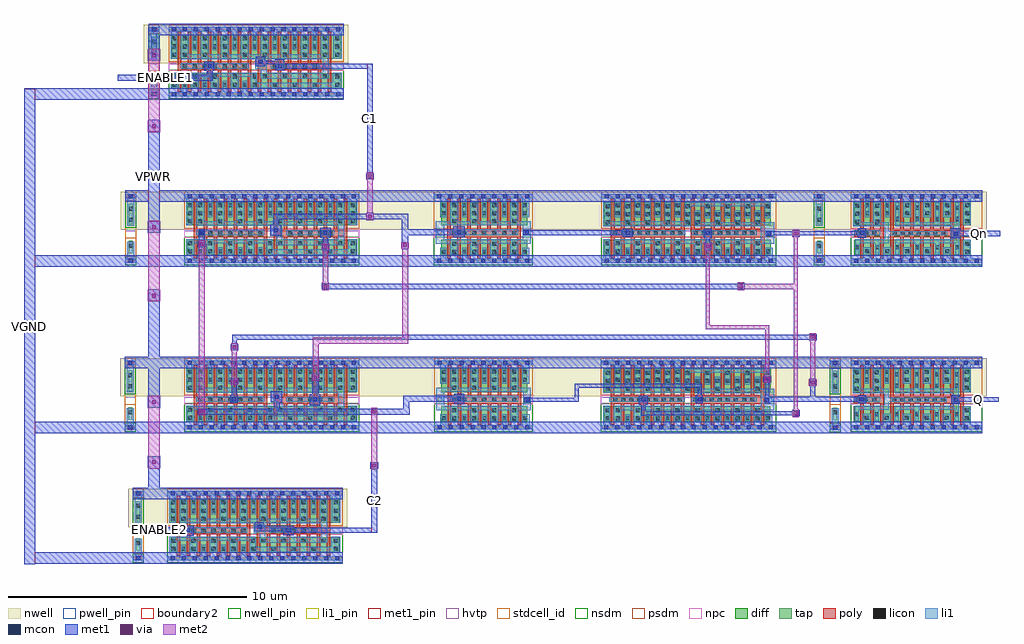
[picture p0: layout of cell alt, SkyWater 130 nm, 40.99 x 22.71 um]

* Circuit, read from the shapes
.subckt alt C1 C2 ENABLE1 ENABLE2 Q Qn VGND VPWR
XM1 VGND ENABLE2 n1 VGND sky130_fd_pr__nfet_01v8 w=0.65 l=0.15 m=8
XM2 VGND ENABLE1 n2 VGND sky130_fd_pr__nfet_01v8 w=0.65 l=0.15 m=8
XM3 VGND sky130_fd_sc_hd__buf_8_7/A n3 VGND sky130_fd_pr__nfet_01v8 w=0.65 l=0.15 m=8
XM4 VGND C2 n4 VGND sky130_fd_pr__nfet_01v8 w=0.65 l=0.15 m=8
XM5 C2 C2 n1 VGND sky130_fd_pr__nfet_01v8 w=0.65 l=0.15 m=8
XM6 C1 C1 n2 VGND sky130_fd_pr__nfet_01v8 w=0.65 l=0.15 m=8
XM7 C2 C1 n3 VGND sky130_fd_pr__nfet_01v8 w=0.65 l=0.15 m=8
XM8 C1 sky130_fd_sc_hd__buf_8_13/A n4 VGND sky130_fd_pr__nfet_01v8 w=0.65 l=0.15 m=8
XM9 sky130_fd_sc_hd__nor2_8_11/A C1 VGND VGND sky130_fd_pr__nfet_01v8 w=0.65 l=0.15 m=8
XM10 sky130_fd_sc_hd__nor2_8_5/B C2 VGND VGND sky130_fd_pr__nfet_01v8 w=0.65 l=0.15 m=8
XM11 sky130_fd_sc_hd__buf_8_7/A sky130_fd_sc_hd__buf_8_13/A VGND VGND sky130_fd_pr__nfet_01v8 w=0.65 l=0.15 m=8
XM12 sky130_fd_sc_hd__buf_8_13/A sky130_fd_sc_hd__nor2_8_11/A VGND VGND sky130_fd_pr__nfet_01v8 w=0.65 l=0.15 m=8
XM13 sky130_fd_sc_hd__buf_8_7/A sky130_fd_sc_hd__nor2_8_5/B VGND VGND sky130_fd_pr__nfet_01v8 w=0.65 l=0.15 m=8
XM14 sky130_fd_sc_hd__buf_8_13/A sky130_fd_sc_hd__buf_8_7/A VGND VGND sky130_fd_pr__nfet_01v8 w=0.65 l=0.15 m=8
XM15 VGND sky130_fd_sc_hd__buf_8_7/A n5 VGND sky130_fd_pr__nfet_01v8 w=0.65 l=0.15 m=3
XM16 VGND sky130_fd_sc_hd__buf_8_13/A n6 VGND sky130_fd_pr__nfet_01v8 w=0.65 l=0.15 m=3
XM17 Q n5 VGND VGND sky130_fd_pr__nfet_01v8 w=0.65 l=0.15 m=8
XM18 Qn n6 VGND VGND sky130_fd_pr__nfet_01v8 w=0.65 l=0.15 m=8
XM19 C2 ENABLE2 VPWR VPWR sky130_fd_pr__pfet_01v8_hvt w=1 l=0.15 m=8
XM20 C1 ENABLE1 VPWR VPWR sky130_fd_pr__pfet_01v8_hvt w=1 l=0.15 m=8
XM21 C2 sky130_fd_sc_hd__buf_8_7/A VPWR VPWR sky130_fd_pr__pfet_01v8_hvt w=1 l=0.15 m=8
XM22 C1 C2 VPWR VPWR sky130_fd_pr__pfet_01v8_hvt w=1 l=0.15 m=8
XM23 C2 C2 VPWR VPWR sky130_fd_pr__pfet_01v8_hvt w=1 l=0.15 m=8
XM24 C1 C1 VPWR VPWR sky130_fd_pr__pfet_01v8_hvt w=1 l=0.15 m=8
XM25 C2 C1 VPWR VPWR sky130_fd_pr__pfet_01v8_hvt w=1 l=0.15 m=8
XM26 C1 sky130_fd_sc_hd__buf_8_13/A VPWR VPWR sky130_fd_pr__pfet_01v8_hvt w=1 l=0.15 m=8
XM27 sky130_fd_sc_hd__nor2_8_11/A C1 VPWR VPWR sky130_fd_pr__pfet_01v8_hvt w=1 l=0.15 m=8
XM28 sky130_fd_sc_hd__nor2_8_5/B C2 VPWR VPWR sky130_fd_pr__pfet_01v8_hvt w=1 l=0.15 m=8
XM29 VPWR sky130_fd_sc_hd__buf_8_13/A n7 VPWR sky130_fd_pr__pfet_01v8_hvt w=1 l=0.15 m=8
XM30 VPWR sky130_fd_sc_hd__nor2_8_11/A n8 VPWR sky130_fd_pr__pfet_01v8_hvt w=1 l=0.15 m=8
XM31 sky130_fd_sc_hd__buf_8_7/A sky130_fd_sc_hd__nor2_8_5/B n7 VPWR sky130_fd_pr__pfet_01v8_hvt w=1 l=0.15 m=8
XM32 sky130_fd_sc_hd__buf_8_13/A sky130_fd_sc_hd__buf_8_7/A n8 VPWR sky130_fd_pr__pfet_01v8_hvt w=1 l=0.15 m=8
XM33 VPWR sky130_fd_sc_hd__buf_8_7/A n5 VPWR sky130_fd_pr__pfet_01v8_hvt w=1 l=0.15 m=3
XM34 VPWR sky130_fd_sc_hd__buf_8_13/A n6 VPWR sky130_fd_pr__pfet_01v8_hvt w=1 l=0.15 m=3
XM35 Q n5 VPWR VPWR sky130_fd_pr__pfet_01v8_hvt w=1 l=0.15 m=8
XM36 Qn n6 VPWR VPWR sky130_fd_pr__pfet_01v8_hvt w=1 l=0.15 m=8
.ends

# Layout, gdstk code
import gdstk
lib = gdstk.Library(unit=1e-6, precision=1e-09)
def R(c, l, rs):  # rectangles x0, y0, x1, y1
    for r in rs: c.add(gdstk.rectangle(r[:2], r[2:], *l))
def A(c, l, x, y, w, h, nx, ny, dx, dy):  # array of equal rectangles
    R(c, l, [(x+i*dx, y+j*dy, x+i*dx+w, y+j*dy+h) for i in range(nx) for j in range(ny)])
def P(c, l, *ps):  # polygons
    for p in ps: c.add(gdstk.Polygon(p, *l))
nwell_pin = (64, 16)
nwell = (64, 20)
diff = (65, 20)
tap = (65, 44)
poly = (66, 20)
licon = (66, 44)
li1_pin = (67, 16)
li1 = (67, 20)
mcon = (67, 44)
met1_pin = (68, 16)
met1 = (68, 20)
via = (68, 44)
met2 = (69, 20)
hvtp = (78, 44)
stdcell_id = (81, 4)
nsdm = (93, 44)
psdm = (94, 20)
npc = (95, 20)
pwell_pin = (122, 16)
boundary2 = (236, 0)

sky130_fd_sc_hd__tapvpwr = lib.new_cell('sky130_fd_sc_hd__tapvpwrvgnd_1')
R(sky130_fd_sc_hd__tapvpwr, nwell, [(-0.19,1.305,0.65,2.91)])
R(sky130_fd_sc_hd__tapvpwr, tap, [(0.145,0.32,0.315,0.845), (0.145,1.525,0.315,2.4)])
R(sky130_fd_sc_hd__tapvpwr, licon, [(0.145,0.555,0.315,0.725), (0.145,1.645,0.315,1.815), (0.145,2.11,0.315,2.28)])
R(sky130_fd_sc_hd__tapvpwr, li1, [(0,-0.085,0.46,0.085), (0.085,0,0.375,0.81), (0.085,1.47,0.375,2.72), (0,2.635,0.46,2.805)])
R(sky130_fd_sc_hd__tapvpwr, mcon, [(0.145,-0.085,0.315,0.085), (0.145,2.635,0.315,2.805)])
R(sky130_fd_sc_hd__tapvpwr, met1_pin, [(0.105,-0.09,0.36,0.1), (0.11,2.62,0.375,2.765)])
R(sky130_fd_sc_hd__tapvpwr, met1, [(0,-0.24,0.46,0.24), (0,2.48,0.46,2.96)])
R(sky130_fd_sc_hd__tapvpwr, hvtp, [(0,1.25,0.46,2.72)])
R(sky130_fd_sc_hd__tapvpwr, stdcell_id, [(0,0,0.46,2.72)])
R(sky130_fd_sc_hd__tapvpwr, nsdm, [(0,-0.19,0.46,0.19), (0,1.395,0.46,2.53)])
R(sky130_fd_sc_hd__tapvpwr, psdm, [(0,0.19,0.46,0.975), (0,2.53,0.46,2.91)])
sky130_fd_sc_hd__tapvpwr.add(gdstk.Label('VPWR', (0.23,2.72), layer=68, texttype=5))
sky130_fd_sc_hd__tapvpwr.add(gdstk.Label('VGND', (0.23,0), layer=68, texttype=5))
sky130_fd_sc_hd__tapvpwr.add(gdstk.Label('tapvpwrvgnd_1', (0,0), layer=83, texttype=44))

sky130_fd_sc_hd__nand2_8 = lib.new_cell('sky130_fd_sc_hd__nand2_8')
R(sky130_fd_sc_hd__nand2_8, nwell_pin, [(0.15,2.635,0.32,2.805)])
R(sky130_fd_sc_hd__nand2_8, nwell, [(-0.19,1.305,7.55,2.91)])
R(sky130_fd_sc_hd__nand2_8, diff, [(0.135,0.235,7.225,0.885), (0.135,1.485,7.225,2.485)])
P(sky130_fd_sc_hd__nand2_8, poly, [(3.485,2.615),(3.335,2.615),(3.335,1.295),(3.065,1.295),(3.065,2.615),(2.915,2.615),(2.915,1.295),(2.645,1.295),(2.645,2.615),(2.495,2.615),(2.495,1.295),(2.225,1.295),(2.225,2.615),(2.075,2.615),(2.075,1.295),(1.805,1.295),(1.805,2.615),(1.655,2.615),(1.655,1.295),(1.385,1.295),(1.385,2.615),(1.235,2.615),(1.235,1.295),(0.965,1.295),(0.965,2.615),(0.815,2.615),(0.815,1.295),(0.545,1.295),(0.545,2.615),(0.395,2.615),(0.395,0.105),(0.545,0.105),(0.545,1.025),(0.815,1.025),(0.815,0.105),(0.965,0.105),(0.965,1.025),(1.235,1.025),(1.235,0.105),(1.385,0.105),(1.385,1.025),(1.655,1.025),(1.655,0.105),(1.805,0.105),(1.805,1.025),(2.075,1.025),(2.075,0.105),(2.225,0.105),(2.225,1.025),(2.495,1.025),(2.495,0.105),(2.645,0.105),(2.645,1.025),(2.915,1.025),(2.915,0.105),(3.065,0.105),(3.065,1.025),(3.335,1.025),(3.335,0.105),(3.485,0.105)],
  [(6.845,2.615),(6.695,2.615),(6.695,1.295),(6.425,1.295),(6.425,2.615),(6.275,2.615),(6.275,1.295),(6.005,1.295),(6.005,2.615),(5.855,2.615),(5.855,1.295),(5.585,1.295),(5.585,2.615),(5.435,2.615),(5.435,1.295),(5.165,1.295),(5.165,2.615),(5.015,2.615),(5.015,1.295),(4.745,1.295),(4.745,2.615),(4.595,2.615),(4.595,1.295),(4.325,1.295),(4.325,2.615),(4.175,2.615),(4.175,1.295),(3.905,1.295),(3.905,2.615),(3.755,2.615),(3.755,0.105),(3.905,0.105),(3.905,1.025),(4.175,1.025),(4.175,0.105),(4.325,0.105),(4.325,1.025),(4.595,1.025),(4.595,0.105),(4.745,0.105),(4.745,1.025),(5.015,1.025),(5.015,0.105),(5.165,0.105),(5.165,1.025),(5.435,1.025),(5.435,0.105),(5.585,0.105),(5.585,1.025),(5.855,1.025),(5.855,0.105),(6.005,0.105),(6.005,1.025),(6.275,1.025),(6.275,0.105),(6.425,0.105),(6.425,1.025),(6.695,1.025),(6.695,0.105),(6.845,0.105)])
A(sky130_fd_sc_hd__nand2_8, licon, 0.175, 0.315, 0.17, 0.17, 9, 1, 0.42, 0)
A(sky130_fd_sc_hd__nand2_8, licon, 4.375, 0.315, 0.17, 0.17, 3, 1, 0.84, 0)
A(sky130_fd_sc_hd__nand2_8, licon, 0.175, 0.655, 0.17, 0.17, 5, 1, 0.84, 0)
A(sky130_fd_sc_hd__nand2_8, licon, 3.955, 0.655, 0.17, 0.17, 4, 1, 0.84, 0)
A(sky130_fd_sc_hd__nand2_8, licon, 1.015, 1.075, 0.17, 0.17, 6, 1, 0.42, 0)
A(sky130_fd_sc_hd__nand2_8, licon, 4.375, 1.075, 0.17, 0.17, 5, 1, 0.42, 0)
A(sky130_fd_sc_hd__nand2_8, licon, 0.595, 1.575, 0.17, 0.17, 8, 1, 0.84, 0)
A(sky130_fd_sc_hd__nand2_8, licon, 6.995, 1.575, 0.17, 0.17, 1, 3, 0, 0.34)
A(sky130_fd_sc_hd__nand2_8, licon, 0.175, 1.915, 0.17, 0.17, 16, 2, 0.42, 0.34)
R(sky130_fd_sc_hd__nand2_8, licon, [(6.995,0.315,7.165,0.485), (6.995,0.655,7.165,0.825), (0.59,1.075,0.76,1.245), (0.175,1.575,0.345,1.745)])
A(sky130_fd_sc_hd__nand2_8, li1_pin, 0.61, 1.105, 0.17, 0.17, 6, 1, 0.46, 0)
A(sky130_fd_sc_hd__nand2_8, li1_pin, 3.83, 1.105, 0.17, 0.17, 6, 1, 0.46, 0)
R(sky130_fd_sc_hd__nand2_8, li1_pin, [(3.83,1.445,4,1.615)])
R(sky130_fd_sc_hd__nand2_8, li1, [(0.51,1.075,3.365,1.295), (4.29,1.075,6.305,1.275)])
P(sky130_fd_sc_hd__nand2_8, li1, [(6.725,2.465),(6.475,2.465),(6.475,0.905),(4.12,0.905),(4.12,1.465),(6.475,1.465),(6.475,2.465),(6.395,2.465),(6.395,1.665),(5.885,1.665),(5.885,2.465),(5.555,2.465),(5.555,1.665),(5.045,1.665),(5.045,2.465),(4.715,2.465),(4.715,1.665),(4.205,1.665),(4.205,2.465),(3.875,2.465),(3.875,1.665),(3.365,1.665),(3.365,2.465),(3.035,2.465),(3.035,1.665),(2.525,1.665),(2.525,2.465),(2.195,2.465),(2.195,1.665),(1.685,1.665),(1.685,2.465),(1.355,2.465),(1.355,1.665),(0.845,1.665),(0.845,2.465),(0.515,2.465),(0.515,1.465),(3.64,1.465),(3.64,1.075),(3.875,1.075),(3.875,0.655),(6.725,0.655)],
  [(7.27,0.905),(6.895,0.905),(6.895,0.485),(3.705,0.485),(3.705,0.905),(0.09,0.905),(0.09,0.255),(0.425,0.255),(0.425,0.735),(0.935,0.735),(0.935,0.255),(1.265,0.255),(1.265,0.735),(1.775,0.735),(1.775,0.255),(2.105,0.255),(2.105,0.735),(2.615,0.735),(2.615,0.255),(2.945,0.255),(2.945,0.735),(3.455,0.735),(3.455,0.255),(7.27,0.255)],
  [(7.36,2.805),(0,2.805),(0,2.635),(0.09,2.635),(0.09,1.495),(0.345,1.495),(0.345,2.635),(1.015,2.635),(1.015,1.835),(1.185,1.835),(1.185,2.635),(1.855,2.635),(1.855,1.835),(2.025,1.835),(2.025,2.635),(2.695,2.635),(2.695,1.835),(2.865,1.835),(2.865,2.635),(3.535,2.635),(3.535,1.835),(3.705,1.835),(3.705,2.635),(4.375,2.635),(4.375,1.835),(4.545,1.835),(4.545,2.635),(5.215,2.635),(5.215,1.835),(5.385,1.835),(5.385,2.635),(6.055,2.635),(6.055,1.835),(6.225,1.835),(6.225,2.635),(6.915,2.635),(6.915,1.495),(7.27,1.495),(7.27,2.635),(7.36,2.635)],
  [(7.36,0.085),(3.285,0.085),(3.285,0.565),(3.115,0.565),(3.115,0.085),(2.445,0.085),(2.445,0.565),(2.275,0.565),(2.275,0.085),(1.605,0.085),(1.605,0.565),(1.435,0.565),(1.435,0.085),(0.765,0.085),(0.765,0.565),(0.595,0.565),(0.595,0.085),(0,0.085),(0,-0.085),(7.36,-0.085)])
A(sky130_fd_sc_hd__nand2_8, mcon, 0.145, -0.085, 0.17, 0.17, 16, 2, 0.46, 2.72)
R(sky130_fd_sc_hd__nand2_8, met1_pin, [(0.15,-0.085,0.32,0.085), (0.15,2.635,0.32,2.805)])
R(sky130_fd_sc_hd__nand2_8, hvtp, [(0,1.25,7.36,2.72)])
R(sky130_fd_sc_hd__nand2_8, stdcell_id, [(0,0,7.36,2.72)])
R(sky130_fd_sc_hd__nand2_8, nsdm, [(0,-0.19,7.36,1.015)])
R(sky130_fd_sc_hd__nand2_8, psdm, [(0,1.355,7.36,2.91)])
R(sky130_fd_sc_hd__nand2_8, npc, [(0,0.975,7.36,1.345)])
R(sky130_fd_sc_hd__nand2_8, pwell_pin, [(0.15,-0.085,0.32,0.085)])
R(sky130_fd_sc_hd__nand2_8, boundary2, [(0,0,7.36,2.72)])
sky130_fd_sc_hd__nand2_8.add(gdstk.FlexPath([(0,2.72),(7.36,2.72)], 0.48, ends="flush", simple_path=True, layer=68, datatype=20))  # met1
sky130_fd_sc_hd__nand2_8.add(gdstk.FlexPath([(0,0),(7.36,0)], 0.48, ends="flush", simple_path=True, layer=68, datatype=20))  # met1
sky130_fd_sc_hd__nand2_8.add(gdstk.Label('A', (5.295,1.19), layer=67, texttype=5))
sky130_fd_sc_hd__nand2_8.add(gdstk.Label('A', (4.835,1.19), layer=67, texttype=5))
sky130_fd_sc_hd__nand2_8.add(gdstk.Label('A', (4.375,1.19), layer=67, texttype=5))
sky130_fd_sc_hd__nand2_8.add(gdstk.Label('B', (2.995,1.19), layer=67, texttype=5))
sky130_fd_sc_hd__nand2_8.add(gdstk.Label('B', (1.155,1.19), layer=67, texttype=5))
sky130_fd_sc_hd__nand2_8.add(gdstk.Label('B', (0.695,1.19), layer=67, texttype=5))
sky130_fd_sc_hd__nand2_8.add(gdstk.Label('Y', (3.915,1.53), layer=67, texttype=5))
sky130_fd_sc_hd__nand2_8.add(gdstk.Label('Y', (3.915,1.19), layer=67, texttype=5))
sky130_fd_sc_hd__nand2_8.add(gdstk.Label('A', (6.215,1.19), layer=67, texttype=5))
sky130_fd_sc_hd__nand2_8.add(gdstk.Label('A', (5.755,1.19), layer=67, texttype=5))
sky130_fd_sc_hd__nand2_8.add(gdstk.Label('B', (2.535,1.19), layer=67, texttype=5))
sky130_fd_sc_hd__nand2_8.add(gdstk.Label('B', (2.075,1.19), layer=67, texttype=5))
sky130_fd_sc_hd__nand2_8.add(gdstk.Label('B', (1.615,1.19), layer=67, texttype=5))
sky130_fd_sc_hd__nand2_8.add(gdstk.Label('VNB', (0.235,0), layer=64, texttype=59))
sky130_fd_sc_hd__nand2_8.add(gdstk.Label('VPB', (0.235,2.72), layer=64, texttype=5))
sky130_fd_sc_hd__nand2_8.add(gdstk.Label('VGND', (0.235,0), layer=68, texttype=5))
sky130_fd_sc_hd__nand2_8.add(gdstk.Label('VPWR', (0.235,2.72), layer=68, texttype=5))
sky130_fd_sc_hd__nand2_8.add(gdstk.Label('nand2_8', (0,0), layer=83, texttype=44))

sky130_fd_sc_hd__inv_8 = lib.new_cell('sky130_fd_sc_hd__inv_8')
R(sky130_fd_sc_hd__inv_8, nwell_pin, [(0.145,2.635,0.315,2.805)])
R(sky130_fd_sc_hd__inv_8, nwell, [(-0.19,1.305,4.33,2.91)])
R(sky130_fd_sc_hd__inv_8, diff, [(0.3,0.235,3.91,0.885), (0.3,1.485,3.91,2.485)])
P(sky130_fd_sc_hd__inv_8, poly, [(3.65,2.615),(3.5,2.615),(3.5,1.325),(3.23,1.325),(3.23,2.615),(3.08,2.615),(3.08,1.325),(2.81,1.325),(2.81,2.615),(2.66,2.615),(2.66,1.325),(2.39,1.325),(2.39,2.615),(2.24,2.615),(2.24,1.325),(1.97,1.325),(1.97,2.615),(1.82,2.615),(1.82,1.325),(1.55,1.325),(1.55,2.615),(1.4,2.615),(1.4,1.325),(1.13,1.325),(1.13,2.615),(0.98,2.615),(0.98,1.325),(0.71,1.325),(0.71,2.615),(0.56,2.615),(0.56,0.105),(0.71,0.105),(0.71,0.995),(0.98,0.995),(0.98,0.105),(1.13,0.105),(1.13,0.995),(1.4,0.995),(1.4,0.105),(1.55,0.105),(1.55,0.995),(1.82,0.995),(1.82,0.105),(1.97,0.105),(1.97,0.995),(2.24,0.995),(2.24,0.105),(2.39,0.105),(2.39,0.995),(2.66,0.995),(2.66,0.105),(2.81,0.105),(2.81,0.995),(3.08,0.995),(3.08,0.105),(3.23,0.105),(3.23,0.995),(3.5,0.995),(3.5,0.105),(3.65,0.105)])
A(sky130_fd_sc_hd__inv_8, licon, 0.34, 0.295, 0.17, 0.17, 9, 2, 0.42, 1.62)
A(sky130_fd_sc_hd__inv_8, licon, 0.76, 0.635, 0.17, 0.17, 4, 2, 0.84, 0.94)
A(sky130_fd_sc_hd__inv_8, licon, 0.76, 1.075, 0.17, 0.17, 7, 1, 0.42, 0)
A(sky130_fd_sc_hd__inv_8, licon, 0.34, 2.255, 0.17, 0.17, 9, 1, 0.42, 0)
A(sky130_fd_sc_hd__inv_8, li1_pin, 1.065, 1.105, 0.17, 0.17, 7, 1, 0.46, 0)
R(sky130_fd_sc_hd__inv_8, li1_pin, [(0.145,1.105,0.315,1.275)])
R(sky130_fd_sc_hd__inv_8, li1, [(0.68,1.075,3.535,1.325)])
P(sky130_fd_sc_hd__inv_8, li1, [(4.055,1.665),(3.735,1.665),(3.735,0.905),(0.43,0.905),(0.43,1.495),(3.735,1.495),(3.735,1.665),(3.53,1.665),(3.53,2.465),(3.2,2.465),(3.2,1.665),(2.69,1.665),(2.69,2.465),(2.36,2.465),(2.36,1.665),(1.85,1.665),(1.85,2.465),(1.52,2.465),(1.52,1.665),(1.01,1.665),(1.01,2.465),(0.68,2.465),(0.68,1.665),(0.085,1.665),(0.085,0.715),(0.68,0.715),(0.68,0.255),(1.01,0.255),(1.01,0.715),(1.52,0.715),(1.52,0.255),(1.85,0.255),(1.85,0.715),(2.36,0.715),(2.36,0.255),(2.69,0.255),(2.69,0.715),(3.2,0.715),(3.2,0.255),(3.53,0.255),(3.53,0.715),(4.055,0.715)],
  [(4.14,0.085),(4.005,0.085),(4.005,0.545),(3.7,0.545),(3.7,0.085),(3.03,0.085),(3.03,0.545),(2.86,0.545),(2.86,0.085),(2.19,0.085),(2.19,0.545),(2.02,0.545),(2.02,0.085),(1.35,0.085),(1.35,0.545),(1.18,0.545),(1.18,0.085),(0.51,0.085),(0.51,0.545),(0.255,0.545),(0.255,0.085),(0,0.085),(0,-0.085),(4.14,-0.085)],
  [(4.14,2.805),(0,2.805),(0,2.635),(0.255,2.635),(0.255,1.835),(0.51,1.835),(0.51,2.635),(1.18,2.635),(1.18,1.835),(1.35,1.835),(1.35,2.635),(2.02,2.635),(2.02,1.835),(2.19,1.835),(2.19,2.635),(2.86,2.635),(2.86,1.835),(3.03,1.835),(3.03,2.635),(3.7,2.635),(3.7,1.835),(4,1.835),(4,2.635),(4.14,2.635)])
A(sky130_fd_sc_hd__inv_8, mcon, 0.145, -0.085, 0.17, 0.17, 9, 2, 0.46, 2.72)
R(sky130_fd_sc_hd__inv_8, met1_pin, [(0.145,-0.085,0.315,0.085), (0.145,2.635,0.315,2.805)])
R(sky130_fd_sc_hd__inv_8, hvtp, [(0,1.25,4.14,2.72)])
R(sky130_fd_sc_hd__inv_8, stdcell_id, [(0,0,4.14,2.72)])
R(sky130_fd_sc_hd__inv_8, nsdm, [(0,-0.19,4.14,1.015)])
R(sky130_fd_sc_hd__inv_8, psdm, [(0,1.355,4.14,2.91)])
R(sky130_fd_sc_hd__inv_8, npc, [(0,0.975,4.14,1.345)])
R(sky130_fd_sc_hd__inv_8, pwell_pin, [(0.145,-0.085,0.315,0.085)])
R(sky130_fd_sc_hd__inv_8, boundary2, [(0,0,4.14,2.72)])
sky130_fd_sc_hd__inv_8.add(gdstk.FlexPath([(0,2.72),(4.14,2.72)], 0.48, ends="flush", simple_path=True, layer=68, datatype=20))  # met1
sky130_fd_sc_hd__inv_8.add(gdstk.FlexPath([(0,0),(4.14,0)], 0.48, ends="flush", simple_path=True, layer=68, datatype=20))  # met1
sky130_fd_sc_hd__inv_8.add(gdstk.Label('A', (1.15,1.19), layer=67, texttype=5))
sky130_fd_sc_hd__inv_8.add(gdstk.Label('A', (1.61,1.19), layer=67, texttype=5))
sky130_fd_sc_hd__inv_8.add(gdstk.Label('A', (2.07,1.19), layer=67, texttype=5))
sky130_fd_sc_hd__inv_8.add(gdstk.Label('A', (2.53,1.19), layer=67, texttype=5))
sky130_fd_sc_hd__inv_8.add(gdstk.Label('A', (2.99,1.19), layer=67, texttype=5))
sky130_fd_sc_hd__inv_8.add(gdstk.Label('A', (3.45,1.19), layer=67, texttype=5))
sky130_fd_sc_hd__inv_8.add(gdstk.Label('Y', (3.91,1.19), layer=67, texttype=5))
sky130_fd_sc_hd__inv_8.add(gdstk.Label('Y', (0.23,1.19), layer=67, texttype=5))
sky130_fd_sc_hd__inv_8.add(gdstk.Label('VNB', (0.23,0), layer=64, texttype=59))
sky130_fd_sc_hd__inv_8.add(gdstk.Label('VPB', (0.23,2.72), layer=64, texttype=5))
sky130_fd_sc_hd__inv_8.add(gdstk.Label('VGND', (0.23,0), layer=68, texttype=5))
sky130_fd_sc_hd__inv_8.add(gdstk.Label('VPWR', (0.23,2.72), layer=68, texttype=5))
sky130_fd_sc_hd__inv_8.add(gdstk.Label('inv_8', (0,0), layer=83, texttype=44))

sky130_fd_sc_hd__nor2_8 = lib.new_cell('sky130_fd_sc_hd__nor2_8')
R(sky130_fd_sc_hd__nor2_8, nwell_pin, [(0.145,2.635,0.315,2.805)])
R(sky130_fd_sc_hd__nor2_8, nwell, [(-0.19,1.305,7.55,2.91)])
R(sky130_fd_sc_hd__nor2_8, diff, [(0.135,0.235,7.125,0.885), (0.135,1.485,7.135,2.485)])
P(sky130_fd_sc_hd__nor2_8, poly, [(3.505,2.615),(3.355,2.615),(3.355,1.325),(3.085,1.325),(3.085,2.615),(2.935,2.615),(2.935,1.325),(2.665,1.325),(2.665,2.615),(2.515,2.615),(2.515,1.325),(2.245,1.325),(2.245,2.615),(2.095,2.615),(2.095,1.325),(1.825,1.325),(1.825,2.615),(1.675,2.615),(1.675,1.325),(1.405,1.325),(1.405,2.615),(1.255,2.615),(1.255,1.325),(0.985,1.325),(0.985,2.615),(0.835,2.615),(0.835,1.325),(0.565,1.325),(0.565,2.615),(0.415,2.615),(0.415,0.105),(0.565,0.105),(0.565,0.995),(0.835,0.995),(0.835,0.105),(0.985,0.105),(0.985,0.995),(1.255,0.995),(1.255,0.105),(1.405,0.105),(1.405,0.995),(1.675,0.995),(1.675,0.105),(1.825,0.105),(1.825,0.995),(2.095,0.995),(2.095,0.105),(2.245,0.105),(2.245,0.995),(2.515,0.995),(2.515,0.105),(2.665,0.105),(2.665,0.995),(2.935,0.995),(2.935,0.105),(3.085,0.105),(3.085,0.995),(3.355,0.995),(3.355,0.105),(3.505,0.105)],
  [(6.865,2.615),(6.715,2.615),(6.715,1.325),(6.445,1.325),(6.445,2.615),(6.295,2.615),(6.295,1.325),(6.025,1.325),(6.025,2.615),(5.875,2.615),(5.875,1.325),(5.605,1.325),(5.605,2.615),(5.455,2.615),(5.455,1.325),(5.185,1.325),(5.185,2.615),(5.035,2.615),(5.035,1.325),(4.765,1.325),(4.765,2.615),(4.615,2.615),(4.615,1.325),(4.345,1.325),(4.345,2.615),(4.195,2.615),(4.195,1.325),(3.925,1.325),(3.925,2.615),(3.775,2.615),(3.775,0.105),(3.925,0.105),(3.925,0.995),(4.195,0.995),(4.195,0.105),(4.345,0.105),(4.345,0.995),(4.615,0.995),(4.615,0.105),(4.765,0.105),(4.765,0.995),(5.035,0.995),(5.035,0.105),(5.185,0.105),(5.185,0.995),(5.455,0.995),(5.455,0.105),(5.605,0.105),(5.605,0.995),(5.875,0.995),(5.875,0.105),(6.025,0.105),(6.025,0.995),(6.295,0.995),(6.295,0.105),(6.445,0.105),(6.445,0.995),(6.715,0.995),(6.715,0.105),(6.865,0.105)])
A(sky130_fd_sc_hd__nor2_8, licon, 0.195, 0.305, 0.17, 0.17, 17, 1, 0.42, 0)
A(sky130_fd_sc_hd__nor2_8, licon, 0.615, 0.645, 0.17, 0.17, 8, 1, 0.84, 0)
A(sky130_fd_sc_hd__nor2_8, licon, 0.515, 1.075, 0.17, 0.17, 9, 1, 0.34, 0)
A(sky130_fd_sc_hd__nor2_8, licon, 3.89, 1.075, 0.17, 0.17, 8, 1, 0.34, 0)
A(sky130_fd_sc_hd__nor2_8, licon, 0.195, 1.535, 0.17, 0.17, 5, 2, 0.84, 0.34)
A(sky130_fd_sc_hd__nor2_8, licon, 3.975, 1.535, 0.17, 0.17, 4, 1, 0.84, 0)
A(sky130_fd_sc_hd__nor2_8, licon, 3.975, 1.875, 0.17, 0.17, 8, 1, 0.42, 0)
A(sky130_fd_sc_hd__nor2_8, licon, 0.615, 1.915, 0.17, 0.17, 4, 2, 0.84, 0.34)
A(sky130_fd_sc_hd__nor2_8, licon, 0.195, 2.215, 0.17, 0.17, 9, 1, 0.84, 0)
R(sky130_fd_sc_hd__nor2_8, licon, [(0.195,0.645,0.365,0.815)])
R(sky130_fd_sc_hd__nor2_8, li1_pin, [(0.605,1.105,0.775,1.275), (4.745,1.105,4.915,1.275), (7.045,1.445,7.215,1.615)])
R(sky130_fd_sc_hd__nor2_8, li1, [(0.36,1.075,3.53,1.275), (3.8,1.075,6.54,1.275)])
P(sky130_fd_sc_hd__nor2_8, li1, [(7.36,0.085),(7.205,0.085),(7.205,0.555),(6.915,0.555),(6.915,0.085),(6.245,0.085),(6.245,0.555),(6.075,0.555),(6.075,0.085),(5.405,0.085),(5.405,0.555),(5.235,0.555),(5.235,0.085),(4.565,0.085),(4.565,0.555),(4.395,0.555),(4.395,0.085),(3.725,0.085),(3.725,0.555),(3.555,0.555),(3.555,0.085),(2.885,0.085),(2.885,0.555),(2.715,0.555),(2.715,0.085),(2.045,0.085),(2.045,0.555),(1.875,0.555),(1.875,0.085),(1.205,0.085),(1.205,0.555),(1.035,0.555),(1.035,0.085),(0.365,0.085),(0.365,0.905),(0.09,0.905),(0.09,0.085),(0,0.085),(0,-0.085),(7.36,-0.085)],
  [(7.36,2.805),(0,2.805),(0,2.635),(0.575,2.635),(0.575,1.835),(0.825,1.835),(0.825,2.635),(1.415,2.635),(1.415,1.835),(1.665,1.835),(1.665,2.635),(2.255,2.635),(2.255,1.835),(2.505,1.835),(2.505,2.635),(3.095,2.635),(3.095,1.835),(3.345,1.835),(3.345,2.635),(7.36,2.635)],
  [(7.125,2.465),(3.515,2.465),(3.515,1.665),(2.925,1.665),(2.925,2.465),(2.675,2.465),(2.675,1.665),(2.085,1.665),(2.085,2.465),(1.835,2.465),(1.835,1.665),(1.245,1.665),(1.245,2.465),(0.995,2.465),(0.995,1.665),(0.405,1.665),(0.405,2.465),(0.09,2.465),(0.09,1.455),(3.765,1.455),(3.765,2.295),(4.355,2.295),(4.355,1.785),(4.605,1.785),(4.605,2.295),(5.195,2.295),(5.195,1.785),(5.445,1.785),(5.445,2.295),(6.035,2.295),(6.035,1.785),(6.285,1.785),(6.285,2.295),(6.875,2.295),(6.875,1.785),(7.125,1.785)],
  [(7.275,1.615),(6.705,1.615),(6.705,2.125),(6.455,2.125),(6.455,1.615),(5.865,1.615),(5.865,2.125),(5.615,2.125),(5.615,1.615),(5.025,1.615),(5.025,2.125),(4.775,2.125),(4.775,1.615),(4.185,1.615),(4.185,2.125),(3.935,2.125),(3.935,1.445),(6.71,1.445),(6.71,0.905),(0.535,0.905),(0.535,0.255),(0.865,0.255),(0.865,0.725),(1.375,0.725),(1.375,0.255),(1.705,0.255),(1.705,0.725),(2.215,0.725),(2.215,0.255),(2.545,0.255),(2.545,0.725),(3.055,0.725),(3.055,0.255),(3.385,0.255),(3.385,0.725),(3.895,0.725),(3.895,0.255),(4.225,0.255),(4.225,0.725),(4.735,0.725),(4.735,0.255),(5.065,0.255),(5.065,0.725),(5.575,0.725),(5.575,0.255),(5.905,0.255),(5.905,0.725),(6.415,0.725),(6.415,0.255),(6.745,0.255),(6.745,0.725),(7.275,0.725)])
A(sky130_fd_sc_hd__nor2_8, mcon, 0.145, -0.085, 0.17, 0.17, 16, 2, 0.46, 2.72)
R(sky130_fd_sc_hd__nor2_8, met1_pin, [(0.145,-0.085,0.315,0.085), (0.145,2.635,0.315,2.805)])
R(sky130_fd_sc_hd__nor2_8, hvtp, [(0,1.25,7.36,2.72)])
R(sky130_fd_sc_hd__nor2_8, stdcell_id, [(0,0,7.36,2.72)])
R(sky130_fd_sc_hd__nor2_8, nsdm, [(0,-0.19,7.36,1.015)])
R(sky130_fd_sc_hd__nor2_8, psdm, [(0,1.355,7.36,2.91)])
R(sky130_fd_sc_hd__nor2_8, npc, [(0,0.975,7.36,1.345)])
R(sky130_fd_sc_hd__nor2_8, pwell_pin, [(0.145,-0.085,0.315,0.085)])
R(sky130_fd_sc_hd__nor2_8, boundary2, [(0,0,7.36,2.72)])
sky130_fd_sc_hd__nor2_8.add(gdstk.FlexPath([(0,2.72),(7.36,2.72)], 0.48, ends="flush", simple_path=True, layer=68, datatype=20))  # met1
sky130_fd_sc_hd__nor2_8.add(gdstk.FlexPath([(0,0),(7.36,0)], 0.48, ends="flush", simple_path=True, layer=68, datatype=20))  # met1
sky130_fd_sc_hd__nor2_8.add(gdstk.Label('Y', (7.13,1.53), layer=67, texttype=5))
sky130_fd_sc_hd__nor2_8.add(gdstk.Label('A', (0.69,1.19), layer=67, texttype=5))
sky130_fd_sc_hd__nor2_8.add(gdstk.Label('B', (4.83,1.19), layer=67, texttype=5))
sky130_fd_sc_hd__nor2_8.add(gdstk.Label('VPB', (0.23,2.72), layer=64, texttype=5))
sky130_fd_sc_hd__nor2_8.add(gdstk.Label('VNB', (0.23,0), layer=64, texttype=59))
sky130_fd_sc_hd__nor2_8.add(gdstk.Label('VGND', (0.23,0), layer=68, texttype=5))
sky130_fd_sc_hd__nor2_8.add(gdstk.Label('VPWR', (0.23,2.72), layer=68, texttype=5))
sky130_fd_sc_hd__nor2_8.add(gdstk.Label('nor2_8', (0,0), layer=83, texttype=44))

sky130_fd_sc_hd__buf_8 = lib.new_cell('sky130_fd_sc_hd__buf_8')
R(sky130_fd_sc_hd__buf_8, nwell_pin, [(0.15,2.635,0.32,2.805)])
R(sky130_fd_sc_hd__buf_8, nwell, [(-0.19,1.305,5.71,2.91)])
R(sky130_fd_sc_hd__buf_8, diff, [(0.135,0.235,5.005,0.885), (0.135,1.485,5.005,2.485)])
P(sky130_fd_sc_hd__buf_8, poly, [(1.385,2.615),(1.235,2.615),(1.235,1.295),(0.965,1.295),(0.965,2.615),(0.815,2.615),(0.815,1.295),(0.545,1.295),(0.545,2.615),(0.395,2.615),(0.395,1.305),(0.14,1.305),(0.14,1.015),(0.395,1.015),(0.395,0.105),(0.545,0.105),(0.545,1.025),(0.815,1.025),(0.815,0.105),(0.965,0.105),(0.965,1.025),(1.235,1.025),(1.235,0.105),(1.385,0.105)],
  [(4.745,2.615),(4.595,2.615),(4.595,1.295),(4.325,1.295),(4.325,2.615),(4.175,2.615),(4.175,1.295),(3.905,1.295),(3.905,2.615),(3.755,2.615),(3.755,1.295),(3.485,1.295),(3.485,2.615),(3.335,2.615),(3.335,1.295),(3.065,1.295),(3.065,2.615),(2.915,2.615),(2.915,1.295),(2.645,1.295),(2.645,2.615),(2.495,2.615),(2.495,1.295),(2.225,1.295),(2.225,2.615),(2.075,2.615),(2.075,1.295),(1.805,1.295),(1.805,2.615),(1.655,2.615),(1.655,0.105),(1.805,0.105),(1.805,1.025),(2.075,1.025),(2.075,0.105),(2.225,0.105),(2.225,1.025),(2.495,1.025),(2.495,0.105),(2.645,0.105),(2.645,1.025),(2.915,1.025),(2.915,0.105),(3.065,0.105),(3.065,1.025),(3.335,1.025),(3.335,0.105),(3.485,0.105),(3.485,1.025),(3.755,1.025),(3.755,0.105),(3.905,0.105),(3.905,1.025),(4.175,1.025),(4.175,0.105),(4.325,0.105),(4.325,1.025),(4.595,1.025),(4.595,0.105),(4.745,0.105)])
A(sky130_fd_sc_hd__buf_8, licon, 0.595, 0.315, 0.17, 0.17, 5, 1, 0.84, 0)
A(sky130_fd_sc_hd__buf_8, licon, 0.175, 0.475, 0.17, 0.17, 6, 1, 0.84, 0)
A(sky130_fd_sc_hd__buf_8, licon, 0.22, 1.075, 0.17, 0.17, 3, 1, 0.34, 0)
A(sky130_fd_sc_hd__buf_8, licon, 1.755, 1.075, 0.17, 0.17, 7, 1, 0.34, 0)
A(sky130_fd_sc_hd__buf_8, licon, 0.175, 1.545, 0.17, 0.17, 1, 3, 0, 0.34)
A(sky130_fd_sc_hd__buf_8, licon, 1.015, 1.545, 0.17, 0.17, 1, 3, 0, 0.34)
A(sky130_fd_sc_hd__buf_8, licon, 1.855, 1.67, 0.17, 0.17, 4, 2, 0.84, 0.475)
A(sky130_fd_sc_hd__buf_8, licon, 0.595, 1.915, 0.17, 0.17, 6, 2, 0.84, 0.34)
R(sky130_fd_sc_hd__buf_8, licon, [(4.795,0.295,4.965,0.465), (4.795,0.635,4.965,0.805), (4.795,1.575,4.965,1.745)])
A(sky130_fd_sc_hd__buf_8, li1_pin, 4.29, 0.765, 0.17, 0.17, 1, 3, 0, 0.34)
A(sky130_fd_sc_hd__buf_8, li1_pin, 0.15, 1.105, 0.17, 0.17, 3, 1, 0.46, 0)
R(sky130_fd_sc_hd__buf_8, li1_pin, [(0.15,-0.085,0.32,0.085), (0.15,2.635,0.32,2.805)])
R(sky130_fd_sc_hd__buf_8, li1, [(0.14,1.075,1.24,1.275)])
P(sky130_fd_sc_hd__buf_8, li1, [(4.045,1.245),(1.595,1.245),(1.595,1.615),(1.265,1.615),(1.265,2.465),(0.935,2.465),(0.935,1.615),(0.425,1.615),(0.425,2.465),(0.095,2.465),(0.095,1.445),(1.42,1.445),(1.42,0.905),(0.175,0.905),(0.175,0.255),(0.345,0.255),(0.345,0.735),(1.015,0.735),(1.015,0.26),(1.185,0.26),(1.185,0.735),(1.595,0.735),(1.595,1.075),(4.045,1.075)],
  [(5.52,0.085),(5.045,0.085),(5.045,0.885),(4.715,0.885),(4.715,0.085),(4.205,0.085),(4.205,0.565),(3.875,0.565),(3.875,0.085),(3.365,0.085),(3.365,0.565),(3.035,0.565),(3.035,0.085),(2.525,0.085),(2.525,0.565),(2.195,0.565),(2.195,0.085),(1.685,0.085),(1.685,0.565),(1.355,0.565),(1.355,0.085),(0.845,0.085),(0.845,0.565),(0.515,0.565),(0.515,0.085),(0,0.085),(0,-0.085),(5.52,-0.085)],
  [(5.52,2.805),(0,2.805),(0,2.635),(0.595,2.635),(0.595,1.835),(0.765,1.835),(0.765,2.635),(1.435,2.635),(1.435,1.835),(1.605,1.835),(1.605,2.635),(2.195,2.635),(2.195,1.835),(2.525,1.835),(2.525,2.635),(3.035,2.635),(3.035,1.835),(3.365,1.835),(3.365,2.635),(3.875,2.635),(3.875,1.835),(4.205,1.835),(4.205,2.635),(4.715,2.635),(4.715,1.485),(5.045,1.485),(5.045,2.635),(5.52,2.635)],
  [(4.545,2.465),(4.375,2.465),(4.375,1.615),(3.705,1.615),(3.705,2.465),(3.535,2.465),(3.535,1.615),(2.865,1.615),(2.865,2.465),(2.695,2.465),(2.695,1.615),(2.025,1.615),(2.025,2.465),(1.855,2.465),(1.855,1.445),(4.29,1.445),(4.29,0.905),(1.855,0.905),(1.855,0.255),(2.025,0.255),(2.025,0.735),(2.695,0.735),(2.695,0.255),(2.865,0.255),(2.865,0.735),(3.535,0.735),(3.535,0.255),(3.705,0.255),(3.705,0.735),(4.375,0.735),(4.375,0.255),(4.545,0.255)])
A(sky130_fd_sc_hd__buf_8, mcon, 0.145, -0.085, 0.17, 0.17, 12, 2, 0.46, 2.72)
R(sky130_fd_sc_hd__buf_8, met1_pin, [(0.15,-0.085,0.32,0.085), (0.15,2.635,0.32,2.805)])
R(sky130_fd_sc_hd__buf_8, hvtp, [(0,1.25,5.52,2.72)])
R(sky130_fd_sc_hd__buf_8, stdcell_id, [(0,0,5.52,2.72)])
R(sky130_fd_sc_hd__buf_8, nsdm, [(0,-0.19,5.52,1.015)])
R(sky130_fd_sc_hd__buf_8, psdm, [(0,1.355,5.52,2.91)])
R(sky130_fd_sc_hd__buf_8, npc, [(0,0.975,5.52,1.345)])
R(sky130_fd_sc_hd__buf_8, pwell_pin, [(0.15,-0.085,0.32,0.085)])
R(sky130_fd_sc_hd__buf_8, boundary2, [(0,0,5.52,2.72)])
sky130_fd_sc_hd__buf_8.add(gdstk.FlexPath([(0,2.72),(5.52,2.72)], 0.48, ends="flush", simple_path=True, layer=68, datatype=20))  # met1
sky130_fd_sc_hd__buf_8.add(gdstk.FlexPath([(0,0),(5.52,0)], 0.48, ends="flush", simple_path=True, layer=68, datatype=20))  # met1
sky130_fd_sc_hd__buf_8.add(gdstk.Label('A', (1.155,1.19), layer=67, texttype=5))
sky130_fd_sc_hd__buf_8.add(gdstk.Label('X', (4.375,0.85), layer=67, texttype=5))
sky130_fd_sc_hd__buf_8.add(gdstk.Label('X', (4.375,1.19), layer=67, texttype=5))
sky130_fd_sc_hd__buf_8.add(gdstk.Label('A', (0.695,1.19), layer=67, texttype=5))
sky130_fd_sc_hd__buf_8.add(gdstk.Label('VGND', (0.23,0), layer=67, texttype=5))
sky130_fd_sc_hd__buf_8.add(gdstk.Label('VPWR', (0.235,2.72), layer=67, texttype=5))
sky130_fd_sc_hd__buf_8.add(gdstk.Label('X', (4.375,1.53), layer=67, texttype=5))
sky130_fd_sc_hd__buf_8.add(gdstk.Label('A', (0.235,1.19), layer=67, texttype=5))
sky130_fd_sc_hd__buf_8.add(gdstk.Label('VPB', (0.235,2.72), layer=64, texttype=5))
sky130_fd_sc_hd__buf_8.add(gdstk.Label('VNB', (0.235,0), layer=64, texttype=59))
sky130_fd_sc_hd__buf_8.add(gdstk.Label('VGND', (0.23,0), layer=68, texttype=5))
sky130_fd_sc_hd__buf_8.add(gdstk.Label('VPWR', (0.235,2.72), layer=68, texttype=5))
sky130_fd_sc_hd__buf_8.add(gdstk.Label('buf_8', (0,0), layer=83, texttype=44))

alt = lib.new_cell('alt')
R(alt, nwell, [(-13.93,-14.145,-11.105,-12.54), (-13.98,-8.655,-10.395,-8.21), (-10.22,-8.655,-6.13,-7.05), (-5.865,-8.655,16.54,-7.05), (-14.5,-8.21,-10.395,-7.37), (-13.98,-7.37,-10.395,-7.05), (-14.38,-1.655,-10.395,-0.05), (-5.865,-1.655,17.75,-0.05)])
R(alt, li1, [(-11.76,-14.375,-11.505,-14.155), (-7.555,-14.375,-7.305,-14.175), (-8.74,-14.22,-8.55,-14.04), (12.595,-8.895,12.765,-8.725), (20.51,-8.89,20.69,-8.69), (-6.425,-8.885,-6.175,-8.685), (-0.38,-8.885,-0.13,-8.635), (2.525,-8.885,2.695,-8.715), (7.395,-8.885,7.565,-8.685), (9.75,-8.885,9.92,-8.685), (16.57,-8.885,16.74,-8.685), (-9.795,-8.855,-9.625,-8.685), (-8.05,-8.78,-7.81,-8.56), (20.5,-1.93,20.71,-1.7), (12.68,-1.89,12.85,-1.72), (-11.175,-1.885,-10.985,-1.695), (-6.005,-1.885,-5.755,-1.685), (-0.39,-1.885,-0.14,-1.635), (6.725,-1.885,6.895,-1.685), (10.1,-1.885,10.27,-1.685), (16.58,-1.885,16.75,-1.685), (2.49,-1.865,2.66,-1.695), (-8.07,-1.78,-7.85,-1.56), (-10.865,5.115,-10.615,5.335), (-7.925,5.115,-7.675,5.315), (-8.7,5.3,-8.5,5.5)])
R(alt, mcon, [(-7.515,-14.36,-7.345,-14.19), (-11.72,-14.35,-11.55,-14.18), (-8.73,-14.215,-8.56,-14.045), (12.595,-8.895,12.765,-8.725), (2.525,-8.885,2.695,-8.715), (20.515,-8.875,20.685,-8.705), (-6.385,-8.87,-6.215,-8.7), (7.395,-8.87,7.565,-8.7), (9.75,-8.87,9.92,-8.7), (16.57,-8.87,16.74,-8.7), (-9.795,-8.855,-9.625,-8.685), (-0.34,-8.845,-0.17,-8.675), (-8.015,-8.755,-7.845,-8.585), (20.52,-1.9,20.69,-1.73), (12.68,-1.89,12.85,-1.72), (-11.165,-1.875,-10.995,-1.705), (-5.965,-1.87,-5.795,-1.7), (6.725,-1.87,6.895,-1.7), (10.1,-1.87,10.27,-1.7), (16.58,-1.87,16.75,-1.7), (2.49,-1.865,2.66,-1.695), (-0.35,-1.845,-0.18,-1.675), (-8.045,-1.755,-7.875,-1.585), (-7.885,5.13,-7.715,5.3), (-10.825,5.14,-10.655,5.31), (-8.685,5.315,-8.515,5.485)])
R(alt, met1_pin, [(-18.54,-15.71,-18.06,4.26), (-13.935,-14.375,-11.76,-14.16), (-3.955,-14.375,-3.705,-11.69), (20.69,-8.89,22.4,-8.69), (20.71,-1.93,22.455,-1.7), (-13.32,-1.31,-12.84,2.45), (-4.12,0.72,-3.9,5.32), (-14.605,4.61,-10.62,4.86)])
R(alt, met1, [(-18.54,-15.71,-18.06,-15.69), (-18.54,-15.69,-12.375,-15.645), (-18.54,-15.645,-12.295,-15.525), (-18.54,-15.525,-12.29,-15.21), (-18.54,-15.21,-18.06,-10.2), (-11.85,-14.5,-11.41,-14.375), (-7.66,-14.49,-7.2,-14.375), (-13.935,-14.375,-11.41,-14.16), (-7.66,-14.375,-3.705,-14.31), (-8.84,-14.31,-3.705,-14.18), (-8.84,-14.18,-7.2,-14.09), (-3.955,-14.18,-3.705,-11.69), (-11.85,-14.16,-11.41,-14.08), (-8.84,-14.09,-8.47,-13.94), (-13.79,-12.97,-12.365,-12.85), (-13.79,-12.85,-12.185,-12.73), (-13.835,-12.73,-12.185,-12.655), (-13.835,-12.655,-12.125,-12.575), (-13.675,-12.575,-12.125,-12.5), (-13.32,-12.5,-12.84,-11.66), (-3.99,-11.69,-3.67,-11.43), (-13.35,-11.66,-12.81,-11.18), (-18.54,-10.2,-11.655,-10.045), (-4.605,-10.2,-0.925,-10.045), (2.67,-10.2,5.955,-10.085), (12.965,-10.195,16.395,-10.085), (2.67,-10.085,16.485,-10.045), (-18.54,-10.045,-11.645,-9.89), (-4.485,-10.045,-1.31,-10.035), (2.745,-10.045,16.485,-9.93), (-4.565,-10.035,-1.295,-9.88), (2.745,-9.93,5.745,-9.88), (12.965,-9.93,16.24,-9.725), (-18.54,-9.89,-11.715,-9.725), (-4.655,-9.88,-1.245,-9.725), (2.615,-9.88,5.745,-9.725), (-18.54,-9.725,-18.06,-3.2), (13.72,-9.495,14.04,-9.455), (7.395,-9.47,7.57,-9.455), (7.395,-9.455,14.04,-9.28), (-11.24,-9.425,-10.92,-9.42), (-3.99,-9.425,-3.67,-9.42), (-11.24,-9.42,-2.345,-9.17), (7.395,-9.28,7.57,-9), (13.72,-9.28,14.04,-9.235), (-11.24,-9.17,-10.92,-9.165), (-8.05,-9.17,-7.8,-8.9), (-3.99,-9.17,-3.67,-9.165), (-2.605,-9.17,-2.35,-8.885), (-13.35,-9.13,-12.81,-8.65), (-6.53,-9.02,-6.09,-8.57), (7.28,-9,7.66,-8.62), (-0.47,-8.98,-0.04,-8.885), (20.41,-8.97,20.77,-8.89), (12.565,-8.955,12.795,-8.885), (16.5,-8.95,16.83,-8.885), (9.68,-8.94,9.98,-8.61), (-9.88,-8.93,-9.57,-8.6), (2.465,-8.915,2.755,-8.885), (-8.17,-8.9,-7.7,-8.45), (20.41,-8.89,22.4,-8.69), (-2.605,-8.885,-0.04,-8.63), (2.465,-8.885,4.755,-8.715), (12.565,-8.885,16.83,-8.68), (2.465,-8.715,2.755,-8.685), (4.585,-8.715,4.755,-8.29), (20.41,-8.69,20.77,-8.6), (12.565,-8.68,12.795,-8.665), (14.485,-8.68,14.69,-8.23), (16.5,-8.68,16.83,-8.61), (12.595,-8.665,12.765,-8.06), (-13.32,-8.65,-12.84,-7.475), (-0.47,-8.63,-0.04,-8.55), (9.75,-8.61,9.92,-8.29), (-9.81,-8.6,-9.605,-8.19), (-6.425,-8.57,-6.17,-8.02), (4.585,-8.29,9.92,-8.12), (14.46,-8.23,14.72,-7.91), (-9.835,-8.19,-9.575,-7.87), (12.52,-8.06,12.84,-7.8), (-6.425,-8.02,-6.165,-7.7), (-14.025,-7.475,16.525,-7.34), (-14.055,-7.34,16.61,-7.115), (-14.005,-7.115,16.525,-7), (-13.32,-7,-12.84,-4.16), (-9.86,-6.72,-9.54,-6.46), (-9.8,-6.46,-9.595,-6.27), (14.435,-6.3,14.755,-6.27), (-9.8,-6.27,14.755,-6.065), (14.435,-6.065,14.755,-6.04), (-6.04,-4.16,-5.72,-4.145), (11.42,-4.16,11.74,-4.145), (-6.04,-4.145,11.74,-3.915), (-6.04,-3.915,-5.72,-3.9), (11.42,-3.915,11.74,-3.9), (-18.54,-3.2,-11.525,-3.055), (-4.605,-3.2,16.465,-3.075), (-4.605,-3.075,17.23,-3.045), (-18.54,-3.055,-10.65,-2.815), (-4.49,-3.045,17.23,-2.875), (-4.705,-2.875,17.23,-2.81), (-18.54,-2.815,-11.625,-2.72), (-4.705,-2.81,16.345,-2.72), (-18.54,-2.72,-18.06,3.8), (-6.01,-2.53,-5.75,-2.21), (10.055,-2.52,10.315,-2.2), (-2.665,-2.465,-2.405,-2.145), (-11.24,-2.39,-10.92,-2.13), (-5.995,-2.21,-5.765,-2), (10.1,-2.2,10.27,-2), (-2.665,-2.145,-2.41,-1.885), (-11.205,-2.13,-10.955,-1.635), (20.38,-2.02,20.81,-1.93), (-6.1,-2,-5.65,-1.58), (10.01,-2,10.35,-1.62), (16.49,-2,16.83,-1.895), (-0.52,-1.98,-0.03,-1.885), (6.61,-1.95,7.03,-1.885), (13.725,-1.94,14.045,-1.895), (20.38,-1.93,22.455,-1.7), (12.62,-1.92,12.91,-1.895), (-8.19,-1.9,-7.73,-1.44), (2.43,-1.895,2.72,-1.885), (12.62,-1.895,16.83,-1.72), (-2.665,-1.885,-0.03,-1.63), (2.43,-1.885,7.03,-1.68), (-13.35,-1.79,-12.81,-1.31), (12.62,-1.72,12.91,-1.69), (13.725,-1.72,14.045,-1.68), (16.49,-1.72,16.83,-1.6), (20.38,-1.7,20.81,-1.59), (2.43,-1.68,2.72,-1.665), (6.61,-1.68,7.03,-1.62), (-2.665,-1.63,-2.41,-1.21), (-0.52,-1.63,-0.03,-1.51), (-8.07,-1.44,-7.85,-1.21), (-13.32,-1.31,-12.84,-0.48), (-4.14,-1.26,-3.88,-1.21), (-8.07,-1.21,-2.41,-0.99), (-4.14,-0.99,-3.88,-0.94), (-13.985,-0.48,16.355,-0.325), (-13.92,-0.325,16.355,-0.235), (-13.92,-0.235,16.255,-0.155), (-13.985,-0.155,16.345,-0.105), (-13.985,-0.105,-11.375,0), (-4.845,-0.105,16.345,0), (-13.32,0,-12.84,2.96), (-4.17,0.46,-3.85,0.72), (-4.12,0.72,-3.9,5.115), (-18.54,3.8,-12.315,3.93), (-18.54,3.93,-11.985,4.28), (-14.605,4.61,-10.62,4.86), (-10.87,4.86,-10.62,5.02), (-10.97,5.02,-10.54,5.41), (-7.99,5.05,-7.6,5.115), (-7.99,5.115,-3.9,5.29), (-8.8,5.21,-8.4,5.29), (-8.8,5.29,-3.9,5.32), (-8.8,5.32,-7.6,5.45), (-13.35,5.44,-12.81,5.92), (-8.8,5.45,-8.4,5.61), (-7.99,5.45,-7.6,5.5), (-13.32,5.92,-12.84,6.52), (-13.32,6.52,-11.76,6.9), (-13.075,6.9,-11.76,6.925), (-12.955,6.925,-12.285,7)])
R(alt, via, [(-3.905,-11.635,-3.755,-11.485), (-13.155,-11.495,-13.005,-11.345), (13.805,-9.44,13.955,-9.29), (-11.155,-9.37,-11.005,-9.22), (-3.905,-9.37,-3.755,-9.22), (-13.155,-8.965,-13.005,-8.815), (14.515,-8.145,14.665,-7.995), (-9.78,-8.105,-9.63,-7.955), (12.605,-8.005,12.755,-7.855), (-6.37,-7.935,-6.22,-7.785), (-9.775,-6.665,-9.625,-6.515), (14.52,-6.245,14.67,-6.095), (-13.155,-4.505,-13.005,-4.355), (-5.955,-4.105,-5.805,-3.955), (11.505,-4.105,11.655,-3.955), (-5.955,-2.445,-5.805,-2.295), (10.11,-2.435,10.26,-2.285), (-2.61,-2.38,-2.46,-2.23), (-11.155,-2.335,-11.005,-2.185), (13.81,-1.885,13.96,-1.735), (-13.155,-1.625,-13.005,-1.475), (-4.085,-1.175,-3.935,-1.025), (-4.085,0.515,-3.935,0.665), (-13.155,2.615,-13.005,2.765), (-13.155,5.605,-13.005,5.755)])
R(alt, met2, [(-3.96,-11.72,-3.7,-11.4), (-13.32,-11.69,-12.84,-8.62), (-3.955,-11.4,-3.705,-9.455), (13.75,-9.525,14.01,-9.205), (-11.21,-9.455,-10.95,-9.135), (-3.96,-9.455,-3.7,-9.135), (13.795,-9.205,13.97,-4.145), (-11.205,-9.135,-10.955,-2.42), (14.43,-8.2,14.75,-7.94), (-9.865,-8.16,-9.545,-7.9), (12.55,-8.09,12.81,-7.77), (-6.455,-7.99,-6.135,-7.73), (14.49,-7.94,14.695,-6.33), (-9.805,-7.9,-9.6,-6.75), (12.595,-7.77,12.765,-5.835), (-6.42,-7.73,-6.165,-6.445), (-9.83,-6.75,-9.57,-6.43), (-6.42,-6.445,-2.405,-6.19), (14.465,-6.33,14.725,-6.01), (-6.42,-6.19,-6.165,-6.185), (-2.66,-6.19,-2.405,-2.435), (10.1,-5.835,12.765,-5.665), (10.1,-5.665,10.27,-2.49), (-13.35,-4.67,-12.81,-4.19), (-13.32,-4.19,-12.84,-1.28), (-6.01,-4.19,-5.75,-3.87), (11.45,-4.19,11.71,-4.145), (11.45,-4.145,13.97,-3.915), (11.45,-3.915,11.71,-3.87), (13.795,-3.915,13.97,-1.97), (-5.995,-3.87,-5.765,-2.5), (-6.04,-2.5,-5.72,-2.24), (10.025,-2.49,10.345,-2.23), (-2.695,-2.435,-2.375,-2.175), (-11.21,-2.42,-10.95,-2.1), (13.755,-1.97,14.015,-1.65), (-4.17,-1.23,-3.85,-0.97), (-4.12,-0.97,-3.9,0.43), (-4.14,0.43,-3.88,0.75), (-13.35,2.45,-12.81,2.93), (-13.32,2.93,-12.84,5.95)])
alt.add(gdstk.Reference(sky130_fd_sc_hd__tapvpwr, (-14.31,-9.96)))
alt.add(gdstk.Reference(sky130_fd_sc_hd__tapvpwr, (-13.97,-15.45)))
alt.add(gdstk.Reference(sky130_fd_sc_hd__nand2_8, (-11.81,-9.96)))
alt.add(gdstk.Reference(sky130_fd_sc_hd__nand2_8, (-12.52,-15.45)))
alt.add(gdstk.Reference(sky130_fd_sc_hd__inv_8, (-1.31,-9.96)))
alt.add(gdstk.Reference(sky130_fd_sc_hd__nor2_8, (5.69,-9.96)))
alt.add(gdstk.Reference(sky130_fd_sc_hd__tapvpwr, (15.3,-9.97)))
alt.add(gdstk.Reference(sky130_fd_sc_hd__buf_8, (16.18,-9.96)))
alt.add(gdstk.Reference(sky130_fd_sc_hd__tapvpwr, (-14.29,-2.96)))
alt.add(gdstk.Reference(sky130_fd_sc_hd__nand2_8, (-11.81,-2.96)))
alt.add(gdstk.Reference(sky130_fd_sc_hd__inv_8, (-1.32,-2.96)))
alt.add(gdstk.Reference(sky130_fd_sc_hd__nor2_8, (5.7,-2.96)))
alt.add(gdstk.Reference(sky130_fd_sc_hd__tapvpwr, (14.64,-2.96)))
alt.add(gdstk.Reference(sky130_fd_sc_hd__buf_8, (16.19,-2.96)))
alt.add(gdstk.Reference(sky130_fd_sc_hd__tapvpwr, (-13.31,4.04)))
alt.add(gdstk.Reference(sky130_fd_sc_hd__nand2_8, (-12.47,4.04)))
alt.add(gdstk.Label('C1', (-4.01,3.02), layer=68, texttype=5))
alt.add(gdstk.Label('C2', (-3.83,-13.032), layer=68, texttype=5))
alt.add(gdstk.Label('VPWR', (-13.08,0.57), layer=68, texttype=5))
alt.add(gdstk.Label('ENABLE1', (-12.612,4.735), layer=68, texttype=5))
alt.add(gdstk.Label('ENABLE2', (-12.847,-14.267), layer=68, texttype=5))
alt.add(gdstk.Label('VGND', (-18.3,-5.725), layer=68, texttype=5))
alt.add(gdstk.Label('Qn', (21.582,-1.815), layer=68, texttype=5))
alt.add(gdstk.Label('Q', (21.545,-8.79), layer=68, texttype=5))

lib.write_gds('alt.gds')
